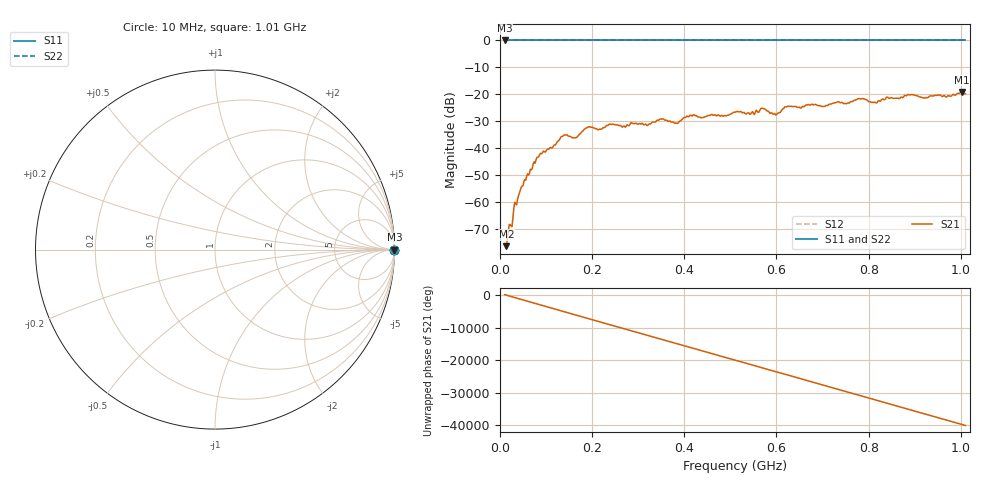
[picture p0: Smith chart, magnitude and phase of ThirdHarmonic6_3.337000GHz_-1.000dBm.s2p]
! 8/17/2025 10:29:57 AM
! C:\ANRITSUVNA\TEMP\TEMP.S2P
! CHANNEL.1
! TR.MEASUREMENT
! RAW.DATA
! RF.CORRECTION.OFF
! AVERAGING.OFF
! IF.BANDWIDTH: 5KHZ
! SWEEPTYPE:  FREQ.SWEEP(Linear)
! Reference Plane Port Info
! PORT:  PORT1  PORT2
! DISTANCE:  0  m  0  m
! TIME:  0  s  0  s
! PHASE.OFFSET:  0  deg.  0  deg.
! LOSS:  0  dB  0  dB
! REF.LOSS:  0  dB  0  dB
! REF.FREQ:  0  Hz  0  Hz
! Power Info
! POWER:  -20  dBm  -20  dBm
! EFF.POWER:  -20  dBm  -20  dBm
! SOURCE.ATTEN:  0  dB  0  dB
! TEST.ATTEN:  0  dB  0  dB
# GHZ S RI R 50.0
! FREQ.GHZ  S11RE  S11IM  S21RE  S21IM  S12RE  S12IM  S22RE  S22IM
!; PortSelection: Port_12
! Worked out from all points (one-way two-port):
!   501 points, 10 MHz to 1.01 GHz, reference 50 ohm
!   highest |S21| = -19.18 dB at 1.002 GHz (marker M1); lowest = -76.6 dB at 14 MHz (marker M2)
!   lowest |S11| = 0.0 dB at 10 MHz (marker M3)
!   |S11| at or under -10 dB: nowhere
!   |S22| runs from 0.0 to 0.0 dB; largest |S21 - S12| = 1.1
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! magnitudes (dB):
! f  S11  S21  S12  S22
! 10 MHz  0.0  -75.7  0.0  0.0
! 14 MHz  0.0  -76.6  0.0  0.0
! 44 MHz  0.0  -55.8  0.0  0.0
! 84 MHz  0.0  -43.3  0.0  0.0
! 136 MHz  0.0  -35.7  0.0  0.0
! 162 MHz  0.0  -36.2  0.0  0.0
! 178 MHz  0.0  -33.9  0.0  0.0
! 192 MHz  0.0  -32.1  0.0  0.0
! 322 MHz  0.0  -31.3  0.0  0.0
! 344 MHz  0.0  -29.7  0.0  0.0
! 382 MHz  0.0  -30.8  0.0  0.0
! 416 MHz  0.0  -28.1  0.0  0.0
! 510 MHz  0.0  -26.7  0.0  0.0
! 570 MHz  0.0  -25.2  0.0  0.0
! 596 MHz  0.0  -27.2  0.0  0.0
! 622 MHz  0.0  -24.7  0.0  0.0
! 678 MHz  0.0  -23.7  0.0  0.0
! 784 MHz  0.0  -21.8  0.0  0.0
! 814 MHz  0.0  -23.1  0.0  0.0
! 844 MHz  0.0  -21.5  0.0  0.0
! 1.002 GHz  0.0  -19.2  0.0  0.0
! 1.01 GHz  0.0  -19.9  0.0  0.0
